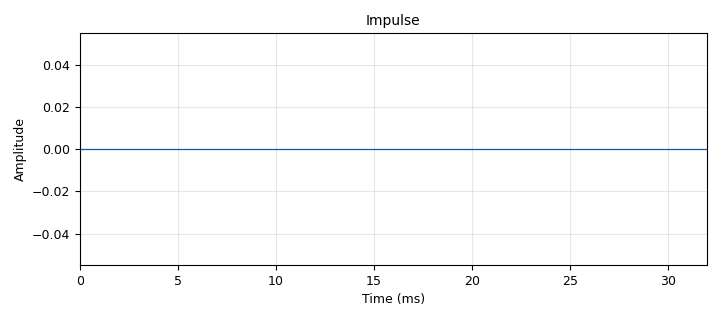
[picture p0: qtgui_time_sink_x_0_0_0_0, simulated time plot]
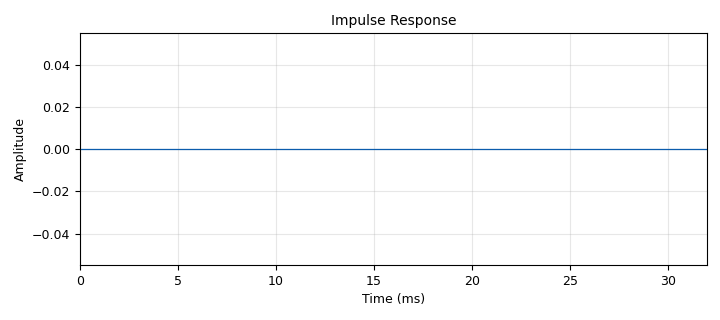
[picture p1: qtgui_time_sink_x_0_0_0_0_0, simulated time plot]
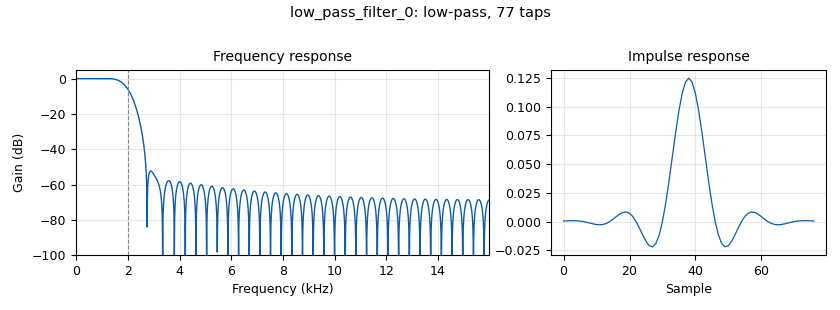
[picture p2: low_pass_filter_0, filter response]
options:
  parameters:
    author: RJ
    generate_options: qt_gui
    id: BSP_TDRIR
    output_language: python
    title: BSP_TDRIR
  states: {}

blocks:
- name: samp_rate
  id: variable
  parameters:
    value: '32000'
  states: {}
- name: blocks_throttle2_0_0_0_0
  id: blocks_throttle2
  parameters:
    samples_per_second: samp_rate
    type: float
  states: {}
- name: blocks_vector_source_x_0_0
  id: blocks_vector_source_x
  parameters:
    repeat: 'False'
    type: float
    vector: ' [1] + [0]*10000'
  states: {}
- name: low_pass_filter_0
  id: low_pass_filter
  parameters:
    cutoff_freq: 2e3
    gain: '1'
    interp: '1'
    samp_rate: samp_rate
    type: interp_fir_filter_fff
    width: 1e3
    win: window.WIN_HAMMING
  states: {}
- name: qtgui_time_sink_x_0_0_0_0
  id: qtgui_time_sink_x
  parameters:
    autoscale: 'True'
    name: '"Impulse"'
    size: '1024'
    srate: samp_rate
    type: float
  states: {}
- name: qtgui_time_sink_x_0_0_0_0_0
  id: qtgui_time_sink_x
  parameters:
    autoscale: 'True'
    name: '"Impulse Response"'
    size: '1024'
    srate: samp_rate
    type: float
  states: {}

connections:
- [blocks_throttle2_0_0_0_0, '0', qtgui_time_sink_x_0_0_0_0, '0']
- [blocks_vector_source_x_0_0, '0', blocks_throttle2_0_0_0_0, '0']
- [blocks_vector_source_x_0_0, '0', low_pass_filter_0, '0']
- [low_pass_filter_0, '0', qtgui_time_sink_x_0_0_0_0_0, '0']

metadata:
  file_format: 1
  grc_version: 3.10.11.0
